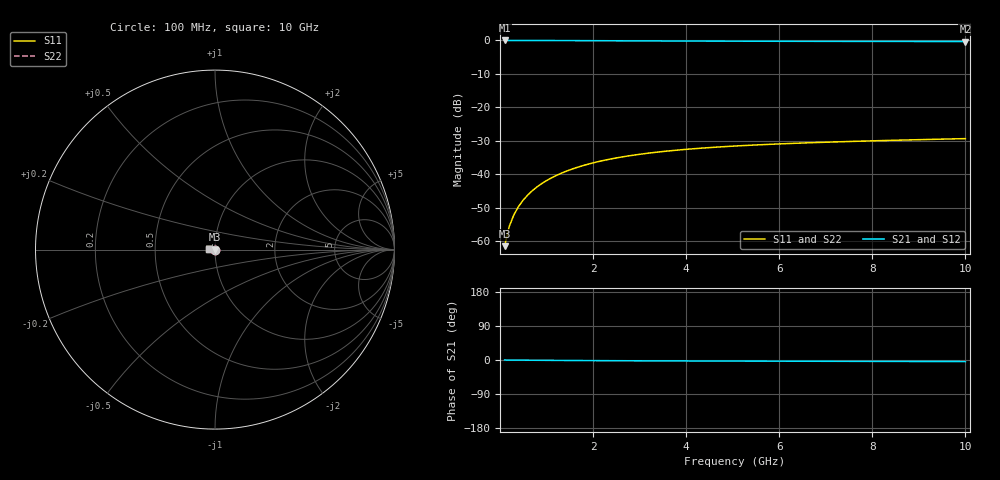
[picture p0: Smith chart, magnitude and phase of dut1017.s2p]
! Touchstone file exported from HFSS 2024.1.0
!  File:  C:/UserFiles/LocalFiles/RDL_TSV_Batchsim/temp_TSV1_1017_1780059484.aedt
!  Generated:  09:03:00 PM May 29, 2026
!  Design:  TSV1
!  Project:  temp_TSV1_1017_1780059484
!  Setup:  Setup1
!  Solution:  Sweep
! Variables:
!  dtsv = 8.09um
!  hbump = 3um
!  htsv = 63.89um
!  lrdl = 252.1521522um
!  p = 40
!  p1 = 43.88um
!  t = 500um
!  trdl = 3um
!  wrdl = 24.89489489um
# GHz S MA R 50.000000
! Terminal data exported
! Port[1] = TSV22_T1
! Port[2] = TSV22_T2
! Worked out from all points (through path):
!   100 points, 100 MHz to 10 GHz, reference 50 ohm
!   highest |S21| = 0.00 dB at 100 MHz (marker M1); lowest = -0.3 dB at 10 GHz (marker M2)
!   lowest |S11| = -61.6 dB at 100 MHz (marker M3), VSWR 1.00, Z = 50 - j0.0817 ohm
!   |S11| at or under -10 dB: start of sweep to end of sweep
!   |S22| runs from -61.6 to -29.4 dB; largest |S21 - S12| = 9.2e-15
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0.1  0.0008345 -78.2  0.9998 -0.1  0.9998 -0.1  0.0008345 -78.2
! Gamma 0 0 0 0
! Port Impedance 50 0 50 0
0.2  0.001649 -86.5  0.9997 -0.2  0.9997 -0.2  0.001649 -86.5
0.3  0.002467 -90.5  0.9995 -0.3  0.9995 -0.3  0.002467 -90.5
0.4  0.00328 -93.4  0.9994 -0.4  0.9994 -0.4  0.00328 -93.4
0.5  0.004088 -95.9  0.9991 -0.5  0.9991 -0.5  0.004088 -95.9
0.6  0.004888 -98.0  0.9989 -0.5  0.9989 -0.5  0.004888 -98.0
0.7  0.005679 -100.1  0.9985 -0.6  0.9985 -0.6  0.005679 -100.1
0.8  0.006459 -102.0  0.9982 -0.7  0.9982 -0.7  0.006459 -102.0
0.9  0.007229 -103.9  0.9978 -0.8  0.9978 -0.8  0.007229 -103.9
1.1  0.008729 -107.5  0.9969 -1.0  0.9969 -1.0  0.008729 -107.5
1.4  0.01087 -112.6  0.9953 -1.2  0.9953 -1.2  0.01087 -112.6
1.6  0.01222 -115.8  0.9942 -1.3  0.9942 -1.3  0.01222 -115.8
1.8  0.0135 -118.9  0.9929 -1.5  0.9929 -1.5  0.0135 -118.9
2.1  0.01529 -123.3  0.991 -1.7  0.991 -1.7  0.01529 -123.3
2.5  0.01744 -128.8  0.9885 -1.9  0.9885 -1.9  0.01744 -128.8
2.9  0.01934 -133.9  0.9859 -2.1  0.9859 -2.1  0.01934 -133.9
3.4  0.02139 -139.7  0.983 -2.3  0.983 -2.3  0.02139 -139.7
4.2  0.02407 -147.9  0.9788 -2.6  0.9788 -2.6  0.02407 -147.9
5.1  0.02642 -155.8  0.975 -2.9  0.975 -2.9  0.02642 -155.8
6.7  0.02951 -167.3  0.97 -3.3  0.97 -3.3  0.02951 -167.3
8.4  0.03198 -177.1  0.9664 -3.8  0.9664 -3.8  0.03198 -177.1
10  0.03395 175.2  0.964 -4.2  0.964 -4.2  0.03395 175.2
